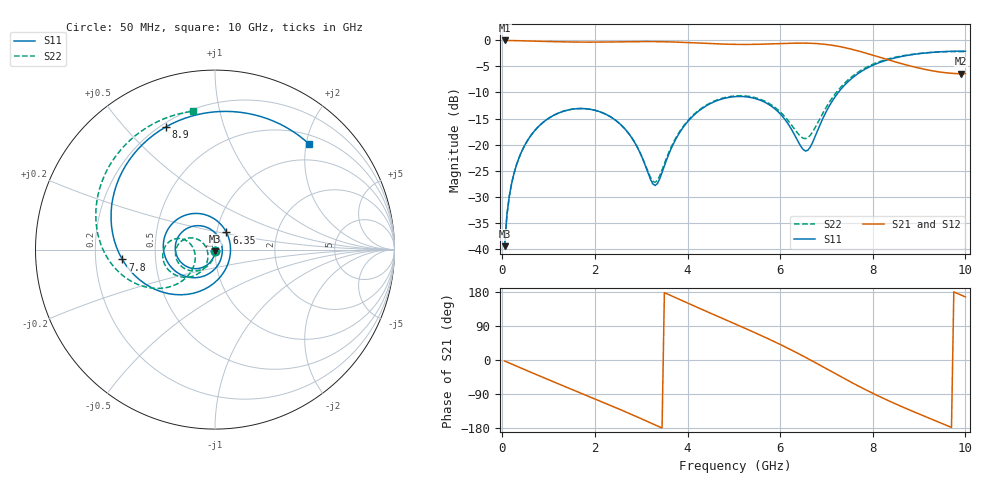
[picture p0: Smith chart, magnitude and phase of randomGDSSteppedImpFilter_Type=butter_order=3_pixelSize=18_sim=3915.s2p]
! freq	dB(S11)	phase(S11)	dB(S12)	phase(S12)
!  dB(S21)	phase(S21)	dB(S22)	phase(S22)
!S-par simulation data
#  GHz  S  DB  R 50
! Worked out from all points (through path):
!   200 points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, 50 MHz to 10 GHz, reference 50 ohm
!   highest |S21| = 0.00 dB at 50 MHz (marker M1); lowest = -6.4 dB at 9.9 GHz (marker M2)
!   group delay of S21, straight-line fit = 157 ps
!   lowest |S11| = -39.5 dB at 50 MHz (marker M3), VSWR 1.02, Z = 49.9 - j1.05 ohm
!   |S11| at or under -10 dB: start of sweep to 7.255 GHz
!   |S22| runs from -39.5 to -2.1 dB; largest |S21 - S12| = 0
!   S11 on the Smith chart (normalised r, x): 50 MHz: 1.00, -0.02; 6.35 GHz: 1.11, +0.22; 7.8 GHz: 0.32, -0.05; 8.9 GHz: 0.22, +0.65; 10 GHz: 0.67, +2.06
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0.05  -39.52 -92.6  -0.00 -2.6  -0.00 -2.6  -39.52 -92.2
0.1  -33.51 -95.6  -0.01 -5.3  -0.01 -5.3  -33.51 -94.9
0.2  -27.54 -101.5  -0.02 -10.6  -0.02 -10.6  -27.53 -100.0
0.5  -19.90 -118.6  -0.08 -26.3  -0.08 -26.3  -19.89 -114.9
1.15  -14.20 -154.9  -0.24 -59.7  -0.24 -59.7  -14.20 -145.8
1.75  -13.09 171.5  -0.32 -90.0  -0.32 -90.0  -13.08 -172.7
2.5  -15.72 125.4  -0.27 -128.3  -0.27 -128.3  -15.72 157.1
3.25  -27.54 21.7  -0.22 -168.5  -0.22 -168.5  -27.05 -177.4
3.4  -26.58 -33.5  -0.23 -176.7  -0.23 -176.7  -25.99 -141.4
4.05  -15.13 -118.8  -0.42 147.6  -0.42 147.6  -14.98 -127.3
5.05  -10.77 174.5  -0.76 93.9  -0.76 93.9  -10.64 -166.1
5.7  -12.02 129.4  -0.70 58.4  -0.70 58.4  -11.81 169.8
6.35  -18.78 56.4  -0.52 19.7  -0.52 19.7  -17.50 169.6
6.55  -21.25 2.1  -0.52 6.9  -0.52 6.9  -18.86 -167.6
6.7  -19.61 -44.9  -0.56 -3.0  -0.56 -3.0  -17.59 -148.3
7.25  -10.06 -126.7  -1.12 -40.0  -1.12 -40.0  -9.58 -141.0
7.8  -5.69 -173.9  -2.31 -75.7  -2.31 -75.7  -5.45 -164.3
8.35  -3.66 146.7  -3.77 -108.0  -3.77 -108.0  -3.52 170.4
8.9  -2.66 111.9  -5.10 -137.4  -5.10 -137.4  -2.60 146.3
9.4  -2.21 82.4  -6.00 -162.7  -6.00 -162.7  -2.22 125.1
9.9  -2.06 53.9  -6.39 171.8  -6.39 171.8  -2.14 103.5
10  -2.07 48.1  -6.39 166.5  -6.39 166.5  -2.16 99.0
